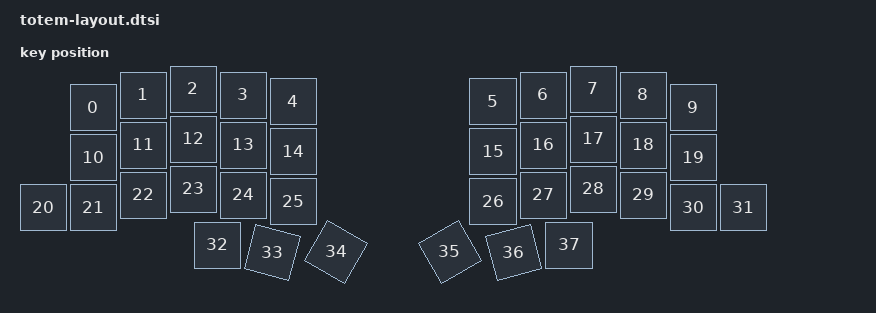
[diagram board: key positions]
#include <physical_layouts.dtsi>

/ {
    chosen {
        zmk,physical-layout = &default_layout;
    };

    default_layout: layout_0 {
        compatible = "zmk,physical-layout";
        display-name = "Default";

        transform = <&default_transform>;

        keys  //                     w   h    x    y     rot    rx    ry
            = <&key_physical_attrs 100 100  100   37       0     0     0>
            , <&key_physical_attrs 100 100  200   12       0     0     0>
            , <&key_physical_attrs 100 100  300    0       0     0     0>
            , <&key_physical_attrs 100 100  400   12       0     0     0>
            , <&key_physical_attrs 100 100  500   25       0     0     0>
            , <&key_physical_attrs 100 100  900   25       0     0     0>
            , <&key_physical_attrs 100 100 1000   12       0     0     0>
            , <&key_physical_attrs 100 100 1100    0       0     0     0>
            , <&key_physical_attrs 100 100 1200   12       0     0     0>
            , <&key_physical_attrs 100 100 1300   37       0     0     0>
            , <&key_physical_attrs 100 100  100  137       0     0     0>
            , <&key_physical_attrs 100 100  200  112       0     0     0>
            , <&key_physical_attrs 100 100  300  100       0     0     0>
            , <&key_physical_attrs 100 100  400  112       0     0     0>
            , <&key_physical_attrs 100 100  500  125       0     0     0>
            , <&key_physical_attrs 100 100  900  125       0     0     0>
            , <&key_physical_attrs 100 100 1000  112       0     0     0>
            , <&key_physical_attrs 100 100 1100  100       0     0     0>
            , <&key_physical_attrs 100 100 1200  112       0     0     0>
            , <&key_physical_attrs 100 100 1300  137       0     0     0>
            , <&key_physical_attrs 100 100    0  237       0     0     0>
            , <&key_physical_attrs 100 100  100  237       0     0     0>
            , <&key_physical_attrs 100 100  200  212       0     0     0>
            , <&key_physical_attrs 100 100  300  200       0     0     0>
            , <&key_physical_attrs 100 100  400  212       0     0     0>
            , <&key_physical_attrs 100 100  500  225       0     0     0>
            , <&key_physical_attrs 100 100  900  225       0     0     0>
            , <&key_physical_attrs 100 100 1000  212       0     0     0>
            , <&key_physical_attrs 100 100 1100  200       0     0     0>
            , <&key_physical_attrs 100 100 1200  212       0     0     0>
            , <&key_physical_attrs 100 100 1300  237       0     0     0>
            , <&key_physical_attrs 100 100 1400  237       0     0     0>
            , <&key_physical_attrs 100 100  348  312       0     0     0>
            , <&key_physical_attrs 100 100  348  312    1500   398   789>
            , <&key_physical_attrs 100 100  348  262    3000   398   789>
            , <&key_physical_attrs 100 100 1052  262 (-3000)  1102   789>
            , <&key_physical_attrs 100 100 1052  312 (-1500)  1102   789>
            , <&key_physical_attrs 100 100 1052  312       0     0     0>
            ;
    };
};
